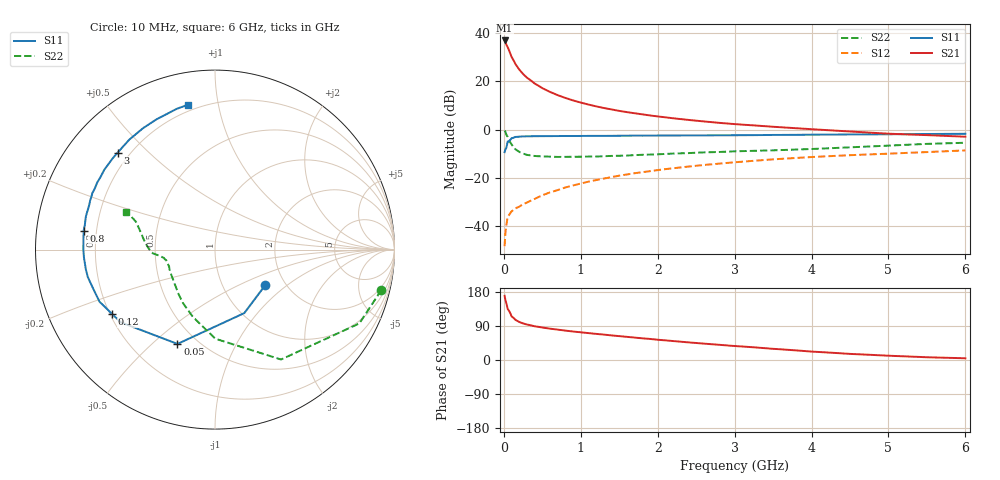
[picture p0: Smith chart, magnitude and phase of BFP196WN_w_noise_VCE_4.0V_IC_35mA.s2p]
! (c) 2017  Infineon Technologies AG, Munich
! Infineon Technologies  Discrete & RF Semiconductors
! BFP196WN
! VCE =  4.0 V,  IC =  35 mA
! Common Emitter S-Parameters:  Jan 2017
# GHz  S  MA  R  50
!  f  S11  S21  S12  S22
! GHz  MAG  ANG  MAG  ANG  MAG  ANG  MAG  ANG
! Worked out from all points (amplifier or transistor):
!   77 points, 10 MHz to 6 GHz, reference 50 ohm
!   highest |S21| = 36.9 dB at 10 MHz (marker M1)
!   |S21| within 3 dB of that: start of sweep to 52.8 MHz
!   unconditionally stable (mu >= 1): 697.8 MHz to 2.676 GHz
!   at 130 MHz: K = 0.46, MSG = 30.7 dB, |S12| = -33.0 dB
!   at 2.2 GHz: K = 1.02, MAG = 9.4 dB, |S12| = -16.0 dB
!   at 6 GHz: K = 0.91, MSG = 2.8 dB, |S12| = -8.6 dB
!   lowest NFmin = 1.11 dB at 450 MHz
!   S11 on the Smith chart (normalised r, x): 10 MHz: 1.59, -0.71; 50 MHz: 0.39, -0.60; 120 MHz: 0.21, -0.28; 800 MHz: 0.15, +0.07; 3 GHz: 0.15, +0.40; 6 GHz: 0.17, +0.82
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0.01  0.3431 -35.1  69.72 169.4  0.0039 86.1  0.954 -13.7
0.02  0.3895 -65.2  64.55 158.3  0.0073 77.5  0.9031 -27.1
0.05  0.5656 -111.7  50.52 134.5  0.0155 56.5  0.7144 -59.0
0.1  0.6635 -142.4  31.95 115.2  0.0204 45.3  0.4964 -89.8
0.12  0.676 -147.9  28.2 112.2  0.0216 45.1  0.4502 -96.2
0.15  0.7059 -155.7  22.78 106.0  0.0235 44.9  0.3942 -108.3
0.2  0.7141 -163.0  17.47 100.4  0.0256 47.1  0.3474 -120.9
0.25  0.7249 -167.8  14.14 96.5  0.0288 49.7  0.32 -129.5
0.3  0.728 -171.4  11.88 93.6  0.0311 51.8  0.3012 -136.5
0.4  0.7315 -176.5  8.989 89.0  0.0369 56.7  0.2856 -145.5
0.5  0.7336 179.8  7.209 85.7  0.0439 60.2  0.2796 -151.9
0.6  0.7345 176.8  6.025 82.7  0.0505 61.4  0.2763 -156.5
0.7  0.7364 174.1  5.158 80.2  0.0563 63.3  0.2727 -159.5
0.8  0.7396 171.8  4.521 77.6  0.0639 64.7  0.2735 -161.7
1.1  0.7425 165.6  3.297 71.0  0.0841 65.6  0.2774 -166.9
1.5  0.7474 158.6  2.441 63.0  0.1117 65.1  0.2886 -170.8
2.1  0.755 148.8  1.796 51.8  0.1524 62.2  0.3146 -174.0
3  0.7655 135.2  1.302 36.9  0.2113 55.8  0.3563 -178.1
3.1  0.7668 133.7  1.269 35.6  0.2175 54.9  0.3596 -178.8
4.1  0.7876 119.2  0.999 21.1  0.2762 46.7  0.4039 171.2
5.1  0.8043 108.4  0.813 10.5  0.3236 39.3  0.4751 160.1
6  0.821 100.4  0.714 4.5  0.3721 33.3  0.5356 157.1
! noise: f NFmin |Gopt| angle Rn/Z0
0.45  1.11  0.47  179  0.05
0.9  1.24  0.53  186  0.05
1.9  2.17  0.68  212  0.13
2.4  2.91  0.69  219  0.25
